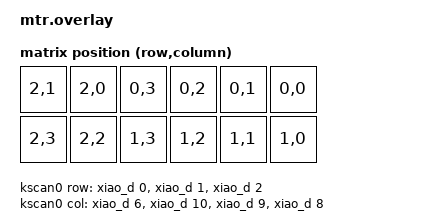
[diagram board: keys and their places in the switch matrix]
/*
 * Copyright (c) 2023 mentako-ya
 *
 * SPDX-License-Identifier: MIT
 */

#include <dt-bindings/zmk/matrix_transform.h>

/ {
	chosen {
		zmk,kscan = &kscan0;
		zmk,matrix_transform = &default_transform;
	};

	default_transform: keymap_transform_0 {
		compatible = "zmk,matrix-transform";
		columns = <6>;
		rows = <2>;
// | SW10 | SW9        | SW4  | SW3  | SW2  | SW1  |
// | SW12 | SW11       | SW8  | SW7  | SW6  | SW5  |
		map = <
RC(2,1) RC(2,0)         RC(0,3) RC(0,2) RC(0,1) RC(0,0) 
RC(2,3) RC(2,2)         RC(1,3) RC(1,2) RC(1,1) RC(1,0) 
		>;
	};

	kscan0: kscan {
		compatible = "zmk,kscan-gpio-matrix";
		label = "KSCAN";
		diode-direction = "row2col";

        row-gpios
            = <&xiao_d 0  GPIO_ACTIVE_HIGH>
            , <&xiao_d 1  GPIO_ACTIVE_HIGH>
            , <&xiao_d 2  GPIO_ACTIVE_HIGH>
            ;

        col-gpios
            = <&xiao_d 6  (GPIO_ACTIVE_HIGH | GPIO_PULL_DOWN)>
            , <&xiao_d 10 (GPIO_ACTIVE_HIGH | GPIO_PULL_DOWN)>
            , <&xiao_d 9  (GPIO_ACTIVE_HIGH | GPIO_PULL_DOWN)>
            , <&xiao_d 8  (GPIO_ACTIVE_HIGH | GPIO_PULL_DOWN)>
            ;
	};

/*
	left_encoder: encoder_left {
        compatible = "alps,ec11";
        label = "LEFT_ENCODER";
        a-gpios = <&xiao_d 5 (GPIO_ACTIVE_HIGH | GPIO_PULL_UP)>;
        b-gpios = <&xiao_d 4 (GPIO_ACTIVE_HIGH | GPIO_PULL_UP)>;
        resolution = <2>;
		status = "disabled";
	};

	right_encoder: encoder_right {
        compatible = "alps,ec11";
        label = "RIGHT_ENCODER";
        a-gpios = <&xiao_d 4 (GPIO_ACTIVE_HIGH | GPIO_PULL_UP)>;
        b-gpios = <&xiao_d 5 (GPIO_ACTIVE_HIGH | GPIO_PULL_UP)>;
        resolution = <2>;
		status = "disabled";

	};

	sensors {
		compatible = "zmk,keymap-sensors";
		sensors = <&left_encoder &right_encoder>;
	};
*/
};
